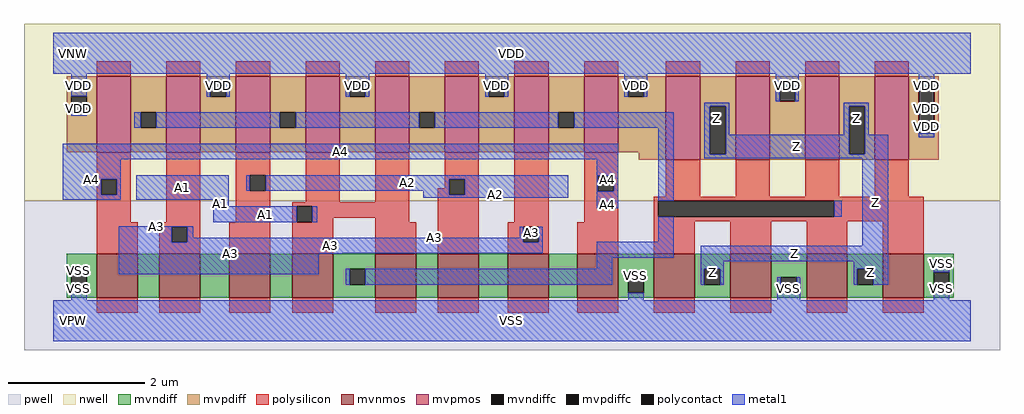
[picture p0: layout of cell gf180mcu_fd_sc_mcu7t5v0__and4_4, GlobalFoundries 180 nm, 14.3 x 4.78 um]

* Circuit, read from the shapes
.subckt gf180mcu_fd_sc_mcu7t5v0__and4_4 A1 A2 A3 A4 Z VDD VNW VPW VSS
XM1 n1 A4 VSS VPW nfet_06v0 w=0.645u l=0.6u
XM2 n2 A3 n1 VPW nfet_06v0 w=0.645u l=0.6u
XM3 n3 A2 n2 VPW nfet_06v0 w=0.645u l=0.6u
XM4 n4 A1 n3 VPW nfet_06v0 w=0.645u l=0.6u
XM5 n5 A1 n4 VPW nfet_06v0 w=0.645u l=0.6u
XM6 n6 A2 n5 VPW nfet_06v0 w=0.645u l=0.6u
XM7 n7 A3 n6 VPW nfet_06v0 w=0.645u l=0.6u
XM8 VSS A4 n7 VPW nfet_06v0 w=0.645u l=0.6u
XM9 Z n4 VSS VPW nfet_06v0 w=0.645u l=0.6u m=4
XM10 n4 A4 VDD VNW pfet_06v0 w=1.11u l=0.5u m=2
XM11 VDD A3 n4 VNW pfet_06v0 w=1.11u l=0.5u m=2
XM12 n4 A2 VDD VNW pfet_06v0 w=1.11u l=0.5u m=2
XM13 VDD A1 n4 VNW pfet_06v0 w=1.11u l=0.5u m=2
XM14 Z n4 VDD VNW pfet_06v0 w=1.22u l=0.5u m=4
.ends

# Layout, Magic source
magic
tech gf180mcuD
magscale 1 10
<< nwell >>
rect -86 352 2774 870
<< pwell >>
rect -86 -86 2774 352
<< mvnmos >>
rect 127 68 247 197
rect 311 68 431 197
rect 515 68 635 197
rect 700 68 820 197
rect 943 68 1063 197
rect 1127 68 1247 197
rect 1331 68 1451 197
rect 1535 68 1655 197
rect 1759 68 1879 197
rect 1983 68 2103 197
rect 2207 68 2327 197
rect 2431 68 2551 197
<< mvpmos >>
rect 127 494 227 716
rect 331 494 431 716
rect 535 494 635 716
rect 739 494 839 716
rect 943 494 1043 716
rect 1147 494 1247 716
rect 1351 494 1451 716
rect 1555 494 1655 716
rect 1795 472 1895 716
rect 1999 472 2099 716
rect 2203 472 2303 716
rect 2407 472 2507 716
<< mvndiff >>
rect 39 142 127 197
rect 39 96 52 142
rect 98 96 127 142
rect 39 68 127 96
rect 247 68 311 197
rect 431 68 515 197
rect 635 68 700 197
rect 820 152 943 197
rect 820 106 868 152
rect 914 106 943 152
rect 820 68 943 106
rect 1063 68 1127 197
rect 1247 68 1331 197
rect 1451 68 1535 197
rect 1655 128 1759 197
rect 1655 82 1684 128
rect 1730 82 1759 128
rect 1655 68 1759 82
rect 1879 152 1983 197
rect 1879 106 1908 152
rect 1954 106 1983 152
rect 1879 68 1983 106
rect 2103 128 2207 197
rect 2103 82 2132 128
rect 2178 82 2207 128
rect 2103 68 2207 82
rect 2327 152 2431 197
rect 2327 106 2356 152
rect 2402 106 2431 152
rect 2327 68 2431 106
rect 2551 142 2639 197
rect 2551 96 2580 142
rect 2626 96 2639 142
rect 2551 68 2639 96
<< mvpdiff >>
rect 39 658 127 716
rect 39 612 52 658
rect 98 612 127 658
rect 39 494 127 612
rect 227 611 331 716
rect 227 565 256 611
rect 302 565 331 611
rect 227 494 331 565
rect 431 703 535 716
rect 431 657 460 703
rect 506 657 535 703
rect 431 494 535 657
rect 635 611 739 716
rect 635 565 664 611
rect 710 565 739 611
rect 635 494 739 565
rect 839 703 943 716
rect 839 657 868 703
rect 914 657 943 703
rect 839 494 943 657
rect 1043 611 1147 716
rect 1043 565 1072 611
rect 1118 565 1147 611
rect 1043 494 1147 565
rect 1247 703 1351 716
rect 1247 657 1276 703
rect 1322 657 1351 703
rect 1247 494 1351 657
rect 1451 611 1555 716
rect 1451 565 1480 611
rect 1526 565 1555 611
rect 1451 494 1555 565
rect 1655 703 1795 716
rect 1655 657 1684 703
rect 1730 657 1795 703
rect 1655 494 1795 657
rect 1715 472 1795 494
rect 1895 628 1999 716
rect 1895 488 1924 628
rect 1970 488 1999 628
rect 1895 472 1999 488
rect 2099 689 2203 716
rect 2099 643 2128 689
rect 2174 643 2203 689
rect 2099 472 2203 643
rect 2303 628 2407 716
rect 2303 488 2332 628
rect 2378 488 2407 628
rect 2303 472 2407 488
rect 2507 689 2595 716
rect 2507 549 2536 689
rect 2582 549 2595 689
rect 2507 472 2595 549
<< mvndiffc >>
rect 52 96 98 142
rect 868 106 914 152
rect 1684 82 1730 128
rect 1908 106 1954 152
rect 2132 82 2178 128
rect 2356 106 2402 152
rect 2580 96 2626 142
<< mvpdiffc >>
rect 52 612 98 658
rect 256 565 302 611
rect 460 657 506 703
rect 664 565 710 611
rect 868 657 914 703
rect 1072 565 1118 611
rect 1276 657 1322 703
rect 1480 565 1526 611
rect 1684 657 1730 703
rect 1924 488 1970 628
rect 2128 643 2174 689
rect 2332 488 2378 628
rect 2536 549 2582 689
<< polysilicon >>
rect 127 716 227 760
rect 331 716 431 760
rect 535 716 635 760
rect 739 716 839 760
rect 943 716 1043 760
rect 1147 716 1247 760
rect 1351 716 1451 760
rect 1555 716 1655 760
rect 1795 716 1895 760
rect 1999 716 2099 760
rect 2203 716 2303 760
rect 2407 716 2507 760
rect 127 415 227 494
rect 127 369 140 415
rect 186 369 227 415
rect 127 288 227 369
rect 331 288 431 494
rect 535 427 635 494
rect 535 381 576 427
rect 622 381 635 427
rect 535 288 635 381
rect 739 348 839 494
rect 943 348 1043 494
rect 1147 415 1247 494
rect 1147 389 1160 415
rect 127 197 247 288
rect 311 276 431 288
rect 311 230 347 276
rect 393 230 431 276
rect 311 197 431 230
rect 515 197 635 288
rect 700 335 1043 348
rect 700 289 713 335
rect 759 302 1043 335
rect 759 289 820 302
rect 700 197 820 289
rect 943 288 1043 302
rect 1127 369 1160 389
rect 1206 369 1247 415
rect 943 197 1063 288
rect 1127 197 1247 369
rect 1351 288 1451 494
rect 1555 425 1655 494
rect 1555 379 1596 425
rect 1642 379 1655 425
rect 1555 288 1655 379
rect 1795 364 1895 472
rect 1999 364 2099 472
rect 2203 364 2303 472
rect 2407 364 2507 472
rect 1331 276 1451 288
rect 1331 230 1377 276
rect 1423 230 1451 276
rect 1331 197 1451 230
rect 1535 197 1655 288
rect 1759 351 2551 364
rect 1759 305 1772 351
rect 2288 305 2551 351
rect 1759 292 2551 305
rect 1759 197 1879 292
rect 1983 197 2103 292
rect 2207 197 2327 292
rect 2431 197 2551 292
rect 127 24 247 68
rect 311 24 431 68
rect 515 24 635 68
rect 700 24 820 68
rect 943 24 1063 68
rect 1127 24 1247 68
rect 1331 24 1451 68
rect 1535 24 1655 68
rect 1759 24 1879 68
rect 1983 24 2103 68
rect 2207 24 2327 68
rect 2431 24 2551 68
<< polycontact >>
rect 140 369 186 415
rect 576 381 622 427
rect 347 230 393 276
rect 713 289 759 335
rect 1160 369 1206 415
rect 1596 379 1642 425
rect 1377 230 1423 276
rect 1772 305 2288 351
<< metal1 >>
rect 0 724 2688 844
rect 52 658 98 724
rect 449 703 517 724
rect 449 657 460 703
rect 506 657 517 703
rect 857 703 925 724
rect 857 657 868 703
rect 914 657 925 703
rect 1265 703 1333 724
rect 1265 657 1276 703
rect 1322 657 1333 703
rect 1673 703 1741 724
rect 1673 657 1684 703
rect 1730 657 1741 703
rect 2117 689 2185 724
rect 2117 643 2128 689
rect 2174 643 2185 689
rect 2536 689 2582 724
rect 52 601 98 612
rect 1908 628 1981 639
rect 237 565 256 611
rect 302 565 664 611
rect 710 565 1072 611
rect 1118 565 1480 611
rect 1526 565 1818 611
rect 28 473 1656 519
rect 28 415 197 473
rect 28 369 140 415
rect 186 369 197 415
rect 28 354 197 369
rect 243 354 514 427
rect 565 381 576 427
rect 622 415 1509 427
rect 622 381 1160 415
rect 1084 369 1160 381
rect 1206 369 1509 415
rect 1084 360 1509 369
rect 1592 425 1656 473
rect 1592 379 1596 425
rect 1642 379 1656 425
rect 468 335 514 354
rect 468 289 713 335
rect 759 289 774 335
rect 1592 329 1656 379
rect 1772 351 1818 565
rect 1908 488 1924 628
rect 1970 545 1981 628
rect 2316 628 2389 639
rect 2316 545 2332 628
rect 1970 488 2332 545
rect 2378 545 2389 628
rect 2378 488 2446 545
rect 2536 538 2582 549
rect 1908 476 2446 488
rect 2288 305 2310 351
rect 192 276 410 277
rect 192 230 347 276
rect 393 243 410 276
rect 1366 244 1377 276
rect 801 243 1377 244
rect 393 230 1377 243
rect 1423 230 1434 276
rect 1772 231 1818 305
rect 192 198 1434 230
rect 192 197 847 198
rect 52 142 98 153
rect 192 136 778 197
rect 1592 185 1818 231
rect 2370 220 2446 476
rect 1592 152 1638 185
rect 857 106 868 152
rect 914 106 1638 152
rect 1897 174 2446 220
rect 1897 152 1965 174
rect 1684 128 1730 139
rect 52 60 98 96
rect 1897 106 1908 152
rect 1954 106 1965 152
rect 2345 152 2446 174
rect 1684 60 1730 82
rect 2121 82 2132 128
rect 2178 82 2189 128
rect 2345 106 2356 152
rect 2402 106 2446 152
rect 2580 142 2626 181
rect 2121 60 2189 82
rect 2580 60 2626 96
rect 0 -60 2688 60
<< labels >>
flabel metal1 s 565 381 1509 427 0 FreeSans 600 0 0 0 A2
port 2 nsew default input
flabel metal1 s 192 276 410 277 0 FreeSans 600 0 0 0 A3
port 3 nsew default input
flabel metal1 s 28 473 1656 519 0 FreeSans 600 0 0 0 A4
port 4 nsew default input
flabel metal1 s 0 724 2688 844 0 FreeSans 600 0 0 0 VDD
port 6 nsew power bidirectional abutment
flabel metal1 s 2580 153 2626 181 0 FreeSans 600 0 0 0 VSS
port 9 nsew ground bidirectional abutment
flabel metal1 s 2316 545 2389 639 0 FreeSans 600 0 0 0 Z
port 5 nsew default output
flabel metal1 s 243 354 514 427 0 FreeSans 600 0 0 0 A1
port 1 nsew default input
flabel nwell s 10 734 110 834 0 FreeSans 400 0 0 0 VNW
port 7 nsew power bidirectional
flabel pwell s 10 -50 110 50 0 FreeSans 400 0 0 0 VPW
port 8 nsew ground bidirectional
rlabel metal1 s 468 335 514 354 1 A1
port 1 nsew default input
rlabel metal1 s 468 289 774 335 1 A1
port 1 nsew default input
rlabel metal1 s 1084 360 1509 381 1 A2
port 2 nsew default input
rlabel metal1 s 1366 244 1434 276 1 A3
port 3 nsew default input
rlabel metal1 s 192 244 410 276 1 A3
port 3 nsew default input
rlabel metal1 s 801 243 1434 244 1 A3
port 3 nsew default input
rlabel metal1 s 192 243 410 244 1 A3
port 3 nsew default input
rlabel metal1 s 192 198 1434 243 1 A3
port 3 nsew default input
rlabel metal1 s 192 197 847 198 1 A3
port 3 nsew default input
rlabel metal1 s 192 136 778 197 1 A3
port 3 nsew default input
rlabel metal1 s 1592 354 1656 473 1 A4
port 4 nsew default input
rlabel metal1 s 28 354 197 473 1 A4
port 4 nsew default input
rlabel metal1 s 1592 329 1656 354 1 A4
port 4 nsew default input
rlabel metal1 s 1908 545 1981 639 1 Z
port 5 nsew default output
rlabel metal1 s 1908 476 2446 545 1 Z
port 5 nsew default output
rlabel metal1 s 2370 220 2446 476 1 Z
port 5 nsew default output
rlabel metal1 s 1897 174 2446 220 1 Z
port 5 nsew default output
rlabel metal1 s 2345 106 2446 174 1 Z
port 5 nsew default output
rlabel metal1 s 1897 106 1965 174 1 Z
port 5 nsew default output
rlabel metal1 s 2536 657 2582 724 1 VDD
port 6 nsew power bidirectional abutment
rlabel metal1 s 2117 657 2185 724 1 VDD
port 6 nsew power bidirectional abutment
rlabel metal1 s 1673 657 1741 724 1 VDD
port 6 nsew power bidirectional abutment
rlabel metal1 s 1265 657 1333 724 1 VDD
port 6 nsew power bidirectional abutment
rlabel metal1 s 857 657 925 724 1 VDD
port 6 nsew power bidirectional abutment
rlabel metal1 s 449 657 517 724 1 VDD
port 6 nsew power bidirectional abutment
rlabel metal1 s 52 657 98 724 1 VDD
port 6 nsew power bidirectional abutment
rlabel metal1 s 2536 643 2582 657 1 VDD
port 6 nsew power bidirectional abutment
rlabel metal1 s 2117 643 2185 657 1 VDD
port 6 nsew power bidirectional abutment
rlabel metal1 s 52 643 98 657 1 VDD
port 6 nsew power bidirectional abutment
rlabel metal1 s 2536 601 2582 643 1 VDD
port 6 nsew power bidirectional abutment
rlabel metal1 s 52 601 98 643 1 VDD
port 6 nsew power bidirectional abutment
rlabel metal1 s 2536 538 2582 601 1 VDD
port 6 nsew power bidirectional abutment
rlabel metal1 s 2580 139 2626 153 1 VSS
port 9 nsew ground bidirectional abutment
rlabel metal1 s 52 139 98 153 1 VSS
port 9 nsew ground bidirectional abutment
rlabel metal1 s 2580 128 2626 139 1 VSS
port 9 nsew ground bidirectional abutment
rlabel metal1 s 1684 128 1730 139 1 VSS
port 9 nsew ground bidirectional abutment
rlabel metal1 s 52 128 98 139 1 VSS
port 9 nsew ground bidirectional abutment
rlabel metal1 s 2580 60 2626 128 1 VSS
port 9 nsew ground bidirectional abutment
rlabel metal1 s 2121 60 2189 128 1 VSS
port 9 nsew ground bidirectional abutment
rlabel metal1 s 1684 60 1730 128 1 VSS
port 9 nsew ground bidirectional abutment
rlabel metal1 s 52 60 98 128 1 VSS
port 9 nsew ground bidirectional abutment
rlabel metal1 s 0 -60 2688 60 1 VSS
port 9 nsew ground bidirectional abutment
<< properties >>
string FIXED_BBOX 0 0 2688 784
string GDS_END 1246668
string GDS_FILE $PDKPATH/libs.ref/gf180mcu_fd_sc_mcu7t5v0/gds/gf180mcu_fd_sc_mcu7t5v0.gds
string GDS_START 1240718
string LEFclass core
string LEFsite GF018hv5v_mcu_sc7
string LEFsymmetry X Y
<< end >>
